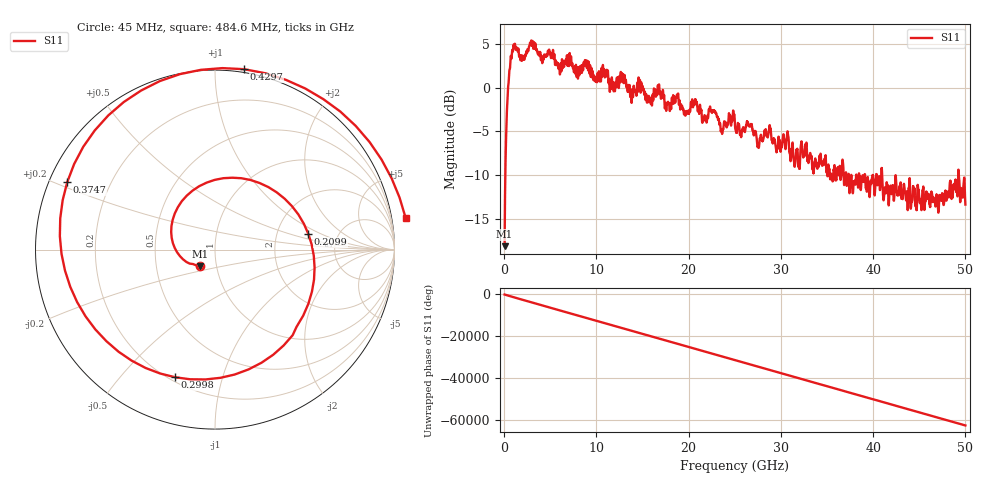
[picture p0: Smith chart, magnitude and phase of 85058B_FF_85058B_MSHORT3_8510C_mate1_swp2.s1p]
!Created with skrf (http://scikit-rf.org).
# Hz S RI R 50.0
!freq ReS11 ImS11
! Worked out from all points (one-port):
!   10001 points, 45 MHz to 50 GHz, reference 50 ohm
!   lowest |S11| = -18.2 dB at 45 MHz (marker M1), VSWR 1.28, Z = 41.8 - j7.86 ohm
!   |S11| at or under -10 dB: 39.12 GHz to 40.35 GHz (1.231 GHz wide, 3.1 % of centre); 40.97 GHz to 49.22 GHz (8.246 GHz wide, 18.3 % of centre); 49.28 GHz to end of sweep (the widest 3 of 18)
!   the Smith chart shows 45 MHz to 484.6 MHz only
!   S11 on the Smith chart (normalised r, x): 45 MHz: 0.84, -0.16; 209.9 MHz: 3.03, +0.74; 299.8 MHz: 0.22, -0.71; 374.7 MHz: 0.05, +0.22; 429.7 MHz: -0.02, +1.17; 484.6 MHz: -5, +10
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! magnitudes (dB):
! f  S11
! 45 MHz  -18.2
! 209.9 MHz  -5.6
! 299.8 MHz  -2.6
! 374.7 MHz  -0.9
! 429.7 MHz  0.2
! 484.6 MHz  0.6
! 794.3 MHz  3.4
! 1.169 GHz  5.0
! 1.973 GHz  3.6
! 3.017 GHz  4.8
! 6.289 GHz  3.0
! 12.53 GHz  0.9
! 15.81 GHz  -1.2
! 18.78 GHz  -1.1
! 19.7 GHz  -2.8
! 20.61 GHz  -2.0
! 22.79 GHz  -2.7
! 23.55 GHz  -4.8
! 25.02 GHz  -4.3
! 27.56 GHz  -6.7
! 30.61 GHz  -5.9
! 31.27 GHz  -6.3
! 32.56 GHz  -7.8
! 37.51 GHz  -10.9
! 43.76 GHz  -14.0
! 46.91 GHz  -12.4
! 49.11 GHz  -12.2
! 50 GHz  -13.4
